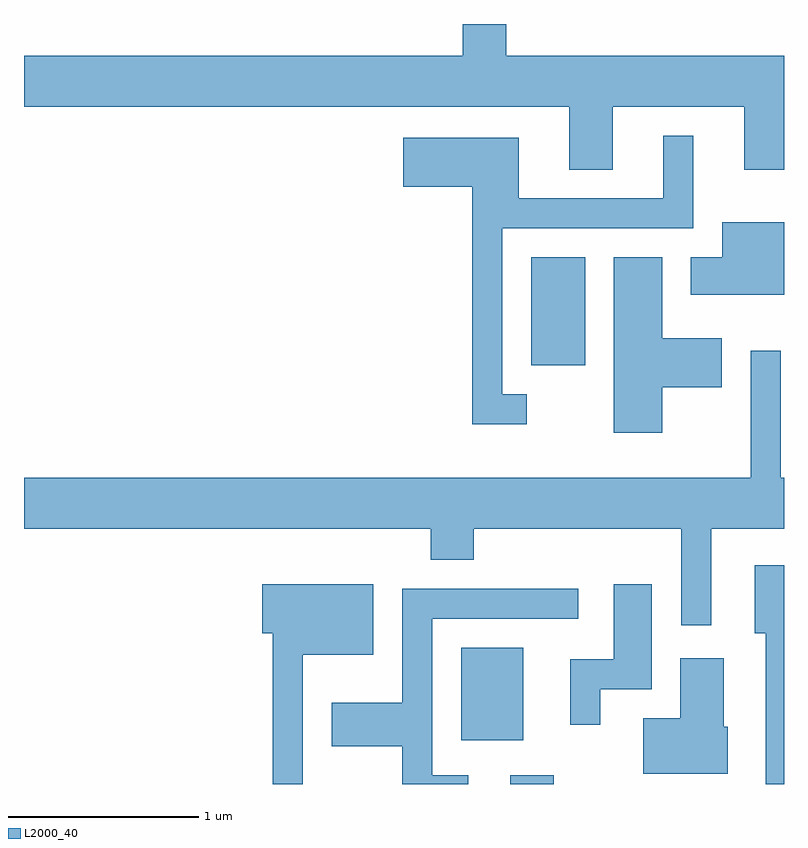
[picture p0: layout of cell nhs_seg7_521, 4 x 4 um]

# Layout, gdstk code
import gdstk
lib = gdstk.Library(unit=1e-6, precision=1e-09)
def R(c, l, rs):  # rectangles x0, y0, x1, y1
    for r in rs: c.add(gdstk.rectangle(r[:2], r[2:], *l))
def P(c, l, *ps):  # polygons
    for p in ps: c.add(gdstk.Polygon(p, *l))
L2000_40 = (2000, 40)

nhs_seg7_521 = lib.new_cell('nhs_seg7_521')
R(nhs_seg7_521, L2000_40, [(202.171,1766.252,202.399,1766.299), (201.911,1766.481,202.239,1766.969), (202.281,1768.456,202.564,1769.024)])
P(nhs_seg7_521, L2000_40, [(202.709,1769.816),(203.401,1769.816),(203.401,1769.486),(203.611,1769.486),(203.611,1770.084),(202.149,1770.084),(202.149,1770.252),(201.921,1770.252),(201.921,1770.084),(199.611,1770.084),(199.611,1769.816),(202.481,1769.816),(202.481,1769.486),(202.709,1769.486)],
  [(202.258,1768.304),(202.129,1768.304),(202.129,1769.176),(203.134,1769.176),(203.134,1769.663),(202.976,1769.663),(202.976,1769.334),(202.214,1769.334),(202.214,1769.654),(201.606,1769.654),(201.606,1769.396),(201.971,1769.396),(201.971,1768.146),(202.258,1768.146)],
  [(203.611,1769.209),(203.286,1769.209),(203.286,1769.024),(203.121,1769.024),(203.121,1768.826),(203.611,1768.826)],
  [(202.969,1768.341),(203.284,1768.341),(203.284,1768.599),(202.969,1768.599),(202.969,1769.024),(202.716,1769.024),(202.716,1768.101),(202.969,1768.101)],
  [(203.229,1767.596),(203.611,1767.596),(203.611,1767.864),(203.594,1767.864),(203.594,1768.533),(203.436,1768.533),(203.436,1767.864),(199.611,1767.864),(199.611,1767.596),(201.751,1767.596),(201.751,1767.431),(201.979,1767.431),(201.979,1767.596),(203.071,1767.596),(203.071,1767.088),(203.229,1767.088)],
  [(203.611,1767.404),(203.456,1767.404),(203.456,1767.046),(203.516,1767.046),(203.516,1766.252),(203.611,1766.252)],
  [(202.644,1766.751),(202.914,1766.751),(202.914,1767.304),(202.716,1767.304),(202.716,1766.909),(202.486,1766.909),(202.486,1766.563),(202.644,1766.563)],
  [(201.079,1766.931),(201.449,1766.931),(201.449,1767.304),(200.866,1767.304),(200.866,1767.046),(200.921,1767.046),(200.921,1766.252),(201.079,1766.252)],
  [(201.948,1766.299),(201.759,1766.299),(201.759,1767.121),(202.528,1767.121),(202.528,1767.279),(201.601,1767.279),(201.601,1766.679),(201.231,1766.679),(201.231,1766.451),(201.601,1766.451),(201.601,1766.252),(201.948,1766.252)],
  [(203.314,1766.554),(203.294,1766.554),(203.294,1766.914),(203.066,1766.914),(203.066,1766.599),(202.871,1766.599),(202.871,1766.306),(203.314,1766.306)])

lib.write_gds('nhs_seg7_521.gds')
